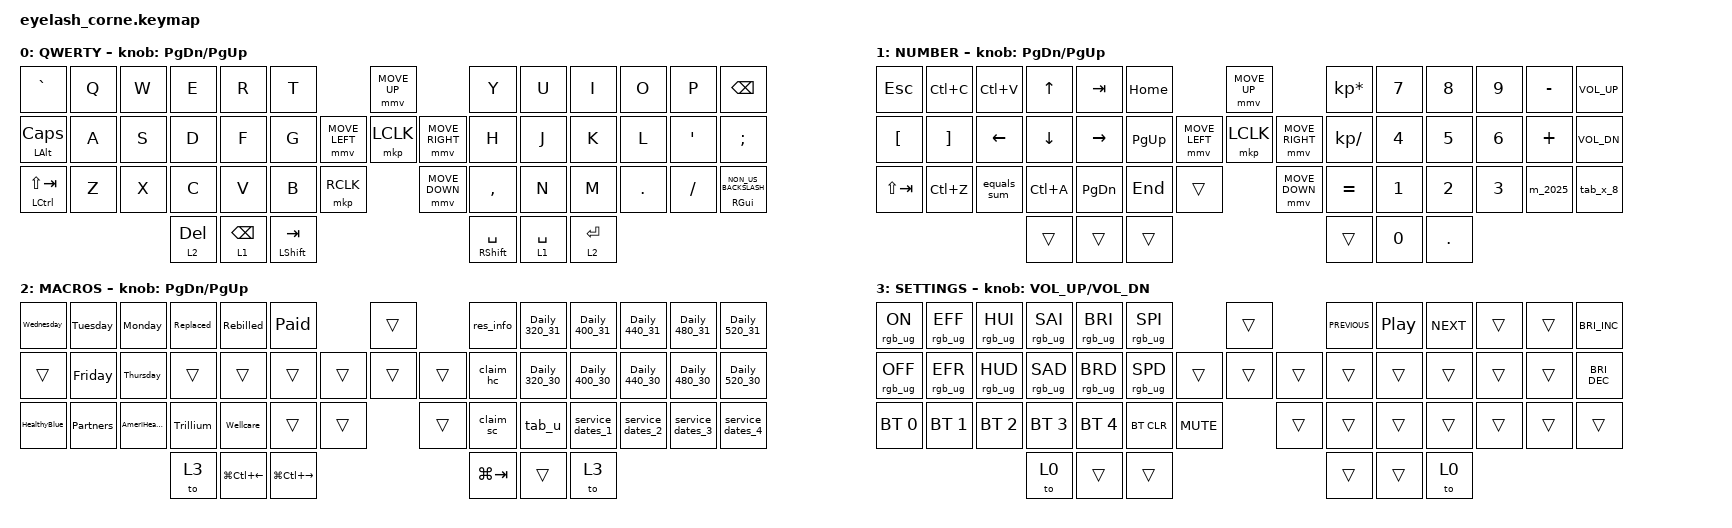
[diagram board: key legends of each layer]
#include <dt-bindings/zmk/mouse.h>
#include <input/processors.dtsi>
#include <behaviors.dtsi>
#include <dt-bindings/zmk/bt.h>
#include <dt-bindings/zmk/keys.h>
#include <dt-bindings/zmk/pointing.h>
#include <dt-bindings/zmk/rgb.h>

/*

   &mmv_input_listener {
       input-processors = <&zip_xy_scaler 2 1>;
   };

   &msc_input_listener {
       input-processors = <&zip_xy_scaler 2 1>;
   };

 */

#define ZMK_MOUSE_DEFAULT_MOVE_VAL 1200  // 600
#define ZMK_MOUSE_DEFAULT_SCRL_VAL 20    // 10

/ {
    behaviors {
        td0: td0 {
            compatible = "zmk,behavior-tap-dance";
            display-name = "Shift/Caps Lock Tap Dance";
            #binding-cells = <0>;
            bindings = <&kp LEFT_SHIFT>, <&kp CAPS>;
        };
    };

    rgb_encoder: rgb_encoder {
        compatible = "zmk,behavior-sensor-rotate";
        #sensor-binding-cells = <0>;
        bindings = <&rgb_ug RGB_BRI>, <&rgb_ug RGB_BRD>;
    };

    scroll_encoder: scroll_encoder {
        compatible = "zmk,behavior-sensor-rotate";
        #sensor-binding-cells = <0>;
        bindings = <&msc SCRL_DOWN>, <&msc SCRL_UP>;

        tap-ms = <30>;
    };

    combos {
        compatible = "zmk,combos";

        Reset_Left {
            bindings = <&bootloader>;
            key-positions = <28 0 5 33>;
        };

        Reset_Right {
            bindings = <&bootloader>;
            key-positions = <7 36 12 41>;
        };

        COlor_Picker {
            bindings = <&Color_Picker>;
            key-positions = <28 29 30>;
        };
    };

    macros {
        res_info: res_info {
            compatible = "zmk,behavior-macro";
            #binding-cells = <0>;
            bindings = <&kp TAB &kp TAB &kp NUMBER_2 &kp TAB &kp TAB &kp TAB &kp TAB &kp Y &kp TAB &kp Y &kp TAB &kp C &kp TAB &kp TAB &kp NUMBER_1 &kp NUMBER_3>;
            label = "RES_INFO";
        };

        claim_hc: claim_hc {
            compatible = "zmk,behavior-macro";
            #binding-cells = <0>;
            bindings = <&kp N9 &kp N9 &kp N5 &kp N0 &kp N9 &kp TAB &kp TAB &kp LS(H) &kp LS(C) &kp TAB &kp TAB &kp TAB &kp TAB &kp N1 &kp TAB &kp TAB &kp TAB &kp TAB>;
            label = "CLAIM_HC";
        };

        claim_sc: claim_sc {
            compatible = "zmk,behavior-macro";
            #binding-cells = <0>;
            bindings = <&kp N9 &kp N9 &kp N5 &kp N0 &kp N9 &kp TAB &kp TAB &kp LS(S) &kp LS(C) &kp TAB &kp TAB &kp TAB &kp TAB &kp N1 &kp TAB &kp TAB &kp TAB &kp TAB>;
            label = "CLAIM_SC";
        };

        equals_sum: equals_sum {
            compatible = "zmk,behavior-macro";
            #binding-cells = <0>;
            bindings = <&kp EQUAL &kp LS(S) &kp LS(U) &kp LS(M) &kp LPAR>;
            label = "EQUALS_SUM";
        };

        tab_x_4: tab_x_4 {
            compatible = "zmk,behavior-macro";
            #binding-cells = <0>;
            bindings = <&kp TAB &kp TAB &kp TAB &kp TAB>;
            label = "TAB_X_4";
        };

        Daily_520_30: Daily_520_30 {
            compatible = "zmk,behavior-macro";
            #binding-cells = <0>;
            bindings = <&none &kp N1 &kp N0 &kp N3 &kp DOT &kp N3 &kp N1>;
            label = "DAILY_520_30";
        };

        Daily_520_31: Daily_520_31 {
            compatible = "zmk,behavior-macro";
            #binding-cells = <0>;
            bindings = <&none &kp N9 &kp N9 &kp DOT &kp N9 &kp N8>;
            label = "DAILY_520_31";
        };

        Daily_480_30: Daily_480_30 {
            compatible = "zmk,behavior-macro";
            #binding-cells = <0>;
            bindings = <&none &kp N9 &kp N5 &kp DOT &kp N3 &kp N6>;
            label = "DAILY_480_30";
        };

        Daily_480_31: Daily_480_31 {
            compatible = "zmk,behavior-macro";
            #binding-cells = <0>;
            bindings = <&none &kp N9 &kp N2 &kp DOT &kp N2 &kp N9>;
            label = "DAILY_480_31";
        };

        Daily_440_30: Daily_440_30 {
            compatible = "zmk,behavior-macro";
            #binding-cells = <0>;
            bindings = <&none &kp N8 &kp N7 &kp DOT &kp N4 &kp NUMBER_2>;
            label = "DAILY_440_30";
        };

        Daily_440_31: Daily_440_31 {
            compatible = "zmk,behavior-macro";
            #binding-cells = <0>;
            bindings = <&none &kp N8 &kp N4 &kp DOT &kp NUMBER_6 &kp N0>;
            label = "DAILY_440_31";
        };

        Daily_400_30: Daily_400_30 {
            compatible = "zmk,behavior-macro";
            #binding-cells = <0>;
            bindings = <&none &kp N7 &kp N9 &kp DOT &kp N4 &kp N7>;
            label = "DAILY_400_30";
        };

        Daily_400_31: Daily_400_31 {
            compatible = "zmk,behavior-macro";
            #binding-cells = <0>;
            bindings = <&none &kp N7 &kp N6 &kp DOT &kp N9 &kp NUMBER_1>;
            label = "DAILY_400_31";
        };

        Daily_320_30: Daily_320_30 {
            compatible = "zmk,behavior-macro";
            #binding-cells = <0>;
            bindings = <&none &kp N6 &kp N3 &kp DOT &kp N5 &kp N8>;
            label = "DAILY_320_30";
        };

        Daily_320_31: Daily_320_31 {
            compatible = "zmk,behavior-macro";
            #binding-cells = <0>;
            bindings = <&none &kp N6 &kp NUMBER_1 &kp DOT &kp N5 &kp NUMBER_3>;
            label = "DAILY_320_31";
        };

        Paid: Paid {
            compatible = "zmk,behavior-macro";
            #binding-cells = <0>;
            bindings = <&none &kp LS(B) &kp I &kp L &kp L &kp E &kp D &kp FSLH &kp LS(P) &kp A &kp I &kp D &kp SPACE>;
            label = "PAID";
        };

        Rebilled: Rebilled {
            compatible = "zmk,behavior-macro";
            #binding-cells = <0>;
            bindings = <&none &kp LS(R) &kp E &kp B &kp I &kp L &kp L &kp E &kp D &kp FSLH &kp LS(P) &kp A &kp I &kp D &kp SPACE>;
            label = "REBILLED";
        };

        Replaced: Replaced {
            compatible = "zmk,behavior-macro";
            #binding-cells = <0>;
            bindings = <&none &kp LS(R) &kp E &kp P &kp L &kp A &kp C &kp E &kp D &kp FSLH &kp LS(P) &kp A &kp I &kp D &kp SPACE>;
            label = "REPLACED";
        };

        Color_Picker: Color_Picker {
            compatible = "zmk,behavior-macro";
            #binding-cells = <0>;
            bindings = <&kp LA(H) &kp LA(H)>;
            label = "COLOR_PICKER";
        };

        Monday: Today {
            compatible = "zmk,behavior-macro";
            #binding-cells = <0>;
            bindings = <&none &kp N0 &kp N3 &kp FSLH &kp N1 &kp N7 &kp FSLH &kp N2 &kp N0 &kp N2 &kp N5>;
            label = "TODAY";
        };

        Tuesday: Tuesday {
            compatible = "zmk,behavior-macro";
            #binding-cells = <0>;
            bindings = <&none &kp N0 &kp N3 &kp FSLH &kp N1 &kp N8 &kp FSLH &kp N2 &kp N0 &kp N2 &kp N5>;
            label = "TUESDAY";
        };

        Wednesday: Wednesday {
            compatible = "zmk,behavior-macro";
            #binding-cells = <0>;
            bindings = <&none &kp N0 &kp N3 &kp FSLH &kp N1 &kp N9 &kp FSLH &kp N2 &kp N0 &kp N2 &kp N5>;
            label = "WEDNESDAY";
        };

        Thursday: Thursday {
            compatible = "zmk,behavior-macro";
            #binding-cells = <0>;
            bindings = <&none &kp N0 &kp N3 &kp FSLH &kp NUMBER_2 &kp N0 &kp FSLH &kp N2 &kp N0 &kp N2 &kp N5>;
            label = "THURSDAY";
        };

        Friday: Friday {
            compatible = "zmk,behavior-macro";
            #binding-cells = <0>;
            bindings = <&none &kp N0 &kp N3 &kp FSLH &kp NUMBER_2 &kp NUMBER_1 &kp FSLH &kp N2 &kp N0 &kp N2 &kp N5>;
            label = "FRIDAY";
        };

        tabx5: tabx5 {
            compatible = "zmk,behavior-macro";
            #binding-cells = <0>;
            bindings = <&kp TAB &kp TAB &kp TAB &kp TAB &kp TAB>;
            label = "TABX5";
        };

        HealthyBlue: HealthyBlue {
            compatible = "zmk,behavior-macro";
            #binding-cells = <0>;
            bindings = <&none &kp LS(H) &kp E &kp A &kp L &kp T &kp H &kp Y &kp LS(B) &kp L &kp U &kp E &kp MINUS>;
            label = "HEALTHYBLUE";
        };

        Partners: Partners {
            compatible = "zmk,behavior-macro";
            #binding-cells = <0>;
            bindings = <&none &kp LS(P) &kp A &kp R &kp T &kp N &kp E &kp R &kp S &kp MINUS>;
            label = "PARTNERS";
        };

        AmeriHealth: AmeriHealth {
            compatible = "zmk,behavior-macro";
            #binding-cells = <0>;
            bindings = <&none &kp LS(A) &kp M &kp E &kp R &kp I &kp LS(H) &kp E &kp A &kp L &kp T &kp H &kp MINUS>;
            label = "AMERIHEALTH";
        };

        Trillium: Trillium {
            compatible = "zmk,behavior-macro";
            #binding-cells = <0>;
            bindings = <&none &kp LS(T) &kp R &kp I &kp L &kp L &kp I &kp U &kp M &kp MINUS>;
            label = "TRILLIUM";
        };

        service_dates_1: service_dates_1 {
            compatible = "zmk,behavior-macro";
            #binding-cells = <0>;
            bindings = <&none &kp N0 &kp N3 &kp FSLH &kp N0 &kp N3 &kp FSLH &kp N2 &kp N0 &kp N2 &kp N5 &kp TAB &kp N0 &kp N3 &kp FSLH &kp N0 &kp N9 &kp FSLH &kp N2 &kp N0 &kp N2 &kp N5 &kp TAB>;
            label = "SERVICE_DATES_1";
        };

        service_dates_2: service_dates_2 {
            compatible = "zmk,behavior-macro";
            #binding-cells = <0>;
            bindings = <&none &kp N0 &kp N3 &kp FSLH &kp NUMBER_1 &kp N0 &kp FSLH &kp N2 &kp N0 &kp N2 &kp N5 &kp TAB &kp N0 &kp N3 &kp FSLH &kp N1 &kp N6 &kp FSLH &kp N2 &kp N0 &kp N2 &kp N5 &kp TAB>;
            label = "SERVICE_DATES_2";
        };

        service_dates_3: service_dates_3 {
            compatible = "zmk,behavior-macro";
            #binding-cells = <0>;
            bindings = <&none &kp N0 &kp N3 &kp FSLH &kp NUMBER_1 &kp N7 &kp FSLH &kp N2 &kp N0 &kp N2 &kp N5 &kp TAB &kp N0 &kp N3 &kp FSLH &kp NUMBER_2 &kp NUMBER_3 &kp FSLH &kp N2 &kp N0 &kp N2 &kp N5 &kp TAB>;
            label = "SERVICE_DATES_3";
        };

        service_dates_4: service_dates_4 {
            compatible = "zmk,behavior-macro";
            #binding-cells = <0>;
            bindings = <&none &kp N0 &kp N3 &kp FSLH &kp NUMBER_2 &kp NUMBER_4 &kp FSLH &kp N2 &kp N0 &kp N2 &kp N5 &kp TAB &kp N0 &kp N3 &kp FSLH &kp NUMBER_3 &kp N0 &kp FSLH &kp N2 &kp N0 &kp N2 &kp N5 &kp TAB>;
            label = "SERVICE_DATES_4";
        };

        tab_u: tab_u {
            compatible = "zmk,behavior-macro";
            #binding-cells = <0>;
            bindings = <&kp TAB &kp NUMBER_1 &kp TAB &kp U &kp TAB>;
            label = "TAB_U";
        };

        m_2025: m_2025 {
            compatible = "zmk,behavior-macro";
            #binding-cells = <0>;
            bindings = <&none &kp N2 &kp N0 &kp N2 &kp N5 &kp TAB>;
            label = "M_2025";
        };

        tab_x_8: tab_x_8 {
            compatible = "zmk,behavior-macro";
            #binding-cells = <0>;
            bindings = <&none &kp TAB &kp TAB &kp TAB &kp TAB &kp TAB &kp TAB &kp TAB &kp TAB>;
            label = "TAB_X_8";
        };

        Wellcare: Wellcare {
            compatible = "zmk,behavior-macro";
            #binding-cells = <0>;
            bindings = <&none &kp LS(W) &kp E &kp L &kp L &kp C &kp A &kp R &kp E &kp MINUS>;
            label = "WELLCARE";
        };
    };

    keymap {
        compatible = "zmk,keymap";

        default_layer {
            display-name = "QWERTY";
            bindings = <
&kp GRAVE              &kp Q  &kp W  &kp E         &kp R            &kp T                                            &mmv MOVE_UP                     &kp Y                  &kp U        &kp I        &kp O    &kp P     &kp BSPC
&mt LEFT_ALT CAPSLOCK  &kp A  &kp S  &kp D         &kp F            &kp G                            &mmv MOVE_LEFT  &mkp LCLK       &mmv MOVE_RIGHT  &kp H                  &kp J        &kp K        &kp L    &kp SQT   &kp SEMI
&mt LCTRL LS(TAB)      &kp Z  &kp X  &kp C         &kp V            &kp B               &mkp RCLK                    &mmv MOVE_DOWN                   &kp COMMA              &kp N        &kp M        &kp DOT  &kp FSLH  &mt RIGHT_GUI NON_US_BACKSLASH
                                     &lt 2 DELETE  &lt 1 BACKSPACE  &mt LEFT_SHIFT TAB                                                                &mt RIGHT_SHIFT SPACE  &lt 1 SPACE  &lt 2 ENTER
            >;

            sensor-bindings = <&inc_dec_kp PAGE_DOWN PAGE_UP>;
        };

        Numbers {
            display-name = "NUMBER";
            bindings = <
&kp ESCAPE        &kp LC(C)          &kp LC(V)    &kp UP_ARROW  &kp TAB        &kp HOME                               &mmv MOVE_UP                     &kp KP_MULTIPLY  &kp N7        &kp N8        &kp N9        &kp MINUS  &kp C_VOLUME_UP
&kp LEFT_BRACKET  &kp RIGHT_BRACKET  &kp LEFT     &kp DOWN      &kp RIGHT      &kp PAGE_UP            &mmv MOVE_LEFT  &mkp LCLK       &mmv MOVE_RIGHT  &kp KP_SLASH     &kp NUMBER_4  &kp NUMBER_5  &kp NUMBER_6  &kp PLUS   &kp C_VOL_DN
&kp LS(TAB)       &kp LC(Z)          &equals_sum  &kp LC(A)     &kp PAGE_DOWN  &kp END      &trans                    &mmv MOVE_DOWN                   &kp EQUAL        &kp NUMBER_1  &kp NUMBER_2  &kp NUMBER_3  &m_2025    &tab_x_8
                                                  &trans        &trans         &trans                                                                  &trans           &kp N0        &kp PERIOD
            >;

            sensor-bindings = <&inc_dec_kp PAGE_DOWN PAGE_UP>;
        };

        Macros {
            bindings = <
&Wednesday    &Tuesday   &Monday       &Replaced  &Rebilled         &Paid                                &trans          &res_info    &Daily_320_31  &Daily_400_31     &Daily_440_31     &Daily_480_31     &Daily_520_31
&trans        &Friday    &Thursday     &trans     &trans            &trans                       &trans  &trans  &trans  &claim_hc    &Daily_320_30  &Daily_400_30     &Daily_440_30     &Daily_480_30     &Daily_520_30
&HealthyBlue  &Partners  &AmeriHealth  &Trillium  &Wellcare         &trans             &trans            &trans          &claim_sc    &tab_u         &service_dates_1  &service_dates_2  &service_dates_3  &service_dates_4
                                       &to 3      &kp LG(LC(LEFT))  &kp LG(LC(RIGHT))                                    &kp LG(TAB)  &trans         &to 3
            >;

            label = "MACROS";
            sensor-bindings = <&inc_dec_kp PAGE_DOWN PAGE_UP>;
        };

        Settings {
            bindings = <
&rgb_ug RGB_ON   &rgb_ug RGB_EFF  &rgb_ug RGB_HUI  &rgb_ug RGB_SAI  &rgb_ug RGB_BRI  &rgb_ug RGB_SPI                        &trans          &kp C_PREVIOUS  &kp C_PLAY_PAUSE  &kp C_NEXT  &trans  &trans  &kp C_BRIGHTNESS_INC
&rgb_ug RGB_OFF  &rgb_ug RGB_EFR  &rgb_ug RGB_HUD  &rgb_ug RGB_SAD  &rgb_ug RGB_BRD  &rgb_ug RGB_SPD                &trans  &trans  &trans  &trans          &trans            &trans      &trans  &trans  &kp C_BRIGHTNESS_DEC
&bt BT_SEL 0     &bt BT_SEL 1     &bt BT_SEL 2     &bt BT_SEL 3     &bt BT_SEL 4     &bt BT_CLR       &kp C_MUTE            &trans          &trans          &trans            &trans      &trans  &trans  &trans
                                                   &to 0            &trans           &trans                                                 &trans          &trans            &to 0
            >;

            label = "SETTINGS";
            sensor-bindings = <&inc_dec_kp C_VOLUME_UP C_VOL_DN>;
        };
    };
};
